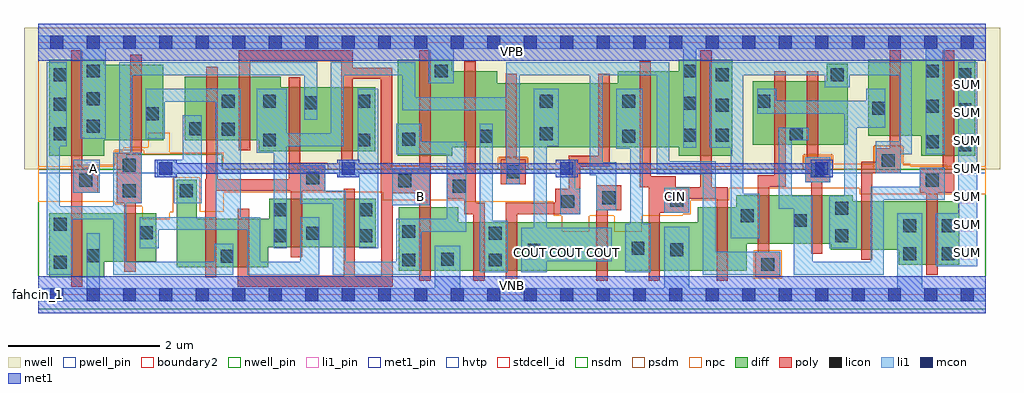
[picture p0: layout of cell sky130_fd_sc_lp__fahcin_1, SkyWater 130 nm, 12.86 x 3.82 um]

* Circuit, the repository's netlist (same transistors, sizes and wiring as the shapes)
* Copyright 2020 The SkyWater PDK Authors
*
* Licensed under the Apache License, Version 2.0 (the "License");
* you may not use this file except in compliance with the License.
* You may obtain a copy of the License at
*
*     https://www.apache.org/licenses/LICENSE-2.0
*
* Unless required by applicable law or agreed to in writing, software
* distributed under the License is distributed on an "AS IS" BASIS,
* WITHOUT WARRANTIES OR CONDITIONS OF ANY KIND, either express or implied.
* See the License for the specific language governing permissions and
* limitations under the License.
*
* SPDX-License-Identifier: Apache-2.0

.SUBCKT sky130_fd_sc_lp__fahcin_1 A B CIN VGND VNB VPB VPWR COUT SUM
*.PININFO A:I B:I CIN:I VGND:I VNB:I VPB:I VPWR:I COUT:O SUM:O
MMIP3 SUM net134 VPWR VPB sky130_fd_pr__pfet_01v8_hvt m=1 w=1.26U l=0.15U mult=1
+ sa=0.265 sb=0.265 sd=0.28 area=0.063 perim=1.14
MI32 Bbb Bb VPWR VPB sky130_fd_pr__pfet_01v8_hvt m=1 w=1.0U l=0.15U mult=1 sa=0.265
+ sb=0.265 sd=0.28 area=0.063 perim=1.14
MI27 Ab Bb mid2 VPB sky130_fd_pr__pfet_01v8_hvt m=1 w=0.84U l=0.15U mult=1 sa=0.265
+ sb=0.265 sd=0.28 area=0.063 perim=1.14
MI26 Abb B mid2 VPB sky130_fd_pr__pfet_01v8_hvt m=1 w=0.84U l=0.15U mult=1 sa=0.265
+ sb=0.265 sd=0.28 area=0.063 perim=1.14
MI22 Abb Bb mid1 VPB sky130_fd_pr__pfet_01v8_hvt m=1 w=0.84U l=0.15U mult=1 sa=0.265
+ sb=0.265 sd=0.28 area=0.063 perim=1.14
MI23 Ab B mid1 VPB sky130_fd_pr__pfet_01v8_hvt m=1 w=0.84U l=0.15U mult=1 sa=0.265
+ sb=0.265 sd=0.28 area=0.063 perim=1.14
MI19 CINb1 CIN VPWR VPB sky130_fd_pr__pfet_01v8_hvt m=1 w=1.0U l=0.15U mult=1 sa=0.265
+ sb=0.265 sd=0.28 area=0.063 perim=1.14
MI13 CINbb2 CINb2 VPWR VPB sky130_fd_pr__pfet_01v8_hvt m=1 w=1.0U l=0.15U mult=1
+ sa=0.265 sb=0.265 sd=0.28 area=0.063 perim=1.14
MI47 Abb Ab VPWR VPB sky130_fd_pr__pfet_01v8_hvt m=1 w=1.0U l=0.15U mult=1 sa=0.265
+ sb=0.265 sd=0.28 area=0.063 perim=1.14
MI12 CINb2 CIN VPWR VPB sky130_fd_pr__pfet_01v8_hvt m=1 w=1.26U l=0.15U mult=1
+ sa=0.265 sb=0.265 sd=0.28 area=0.063 perim=1.14
MI16 Bb B VPWR VPB sky130_fd_pr__pfet_01v8_hvt m=1 w=1.26U l=0.15U mult=1 sa=0.265
+ sb=0.265 sd=0.28 area=0.063 perim=1.14
MI650 CINbb2 mid2 net134 VPB sky130_fd_pr__pfet_01v8_hvt m=1 w=0.84U l=0.15U mult=1
+ sa=0.265 sb=0.265 sd=0.28 area=0.063 perim=1.14
MI45 Ab A VPWR VPB sky130_fd_pr__pfet_01v8_hvt m=1 w=1.26U l=0.15U mult=1 sa=0.265
+ sb=0.265 sd=0.28 area=0.063 perim=1.14
MI1 CINb2 mid1 net134 VPB sky130_fd_pr__pfet_01v8_hvt m=1 w=0.84U l=0.15U mult=1
+ sa=0.265 sb=0.265 sd=0.28 area=0.063 perim=1.14
MI3 Bbb mid2 COUT VPB sky130_fd_pr__pfet_01v8_hvt m=1 w=0.84U l=0.15U mult=1 sa=0.265
+ sb=0.265 sd=0.28 area=0.063 perim=1.14
MI4 CINb1 mid1 COUT VPB sky130_fd_pr__pfet_01v8_hvt m=1 w=0.84U l=0.15U mult=1
+ sa=0.265 sb=0.265 sd=0.28 area=0.063 perim=1.14
MMIN3 SUM net134 VGND VNB sky130_fd_pr__nfet_01v8 m=1 w=0.84U l=0.15U mult=1 sa=0.265
+ sb=0.265 sd=0.28 area=0.063 perim=1.14
MI6 CINb1 mid2 COUT VNB sky130_fd_pr__nfet_01v8 m=1 w=0.64U l=0.15U mult=1 sa=0.265
+ sb=0.265 sd=0.28 area=0.063 perim=1.14
MI25 Ab B mid2 VNB sky130_fd_pr__nfet_01v8 m=1 w=0.64U l=0.15U mult=1 sa=0.265
+ sb=0.265 sd=0.28 area=0.063 perim=1.14
MI24 Abb Bb mid2 VNB sky130_fd_pr__nfet_01v8 m=1 w=0.64U l=0.15U mult=1 sa=0.265
+ sb=0.265 sd=0.28 area=0.063 perim=1.14
MI21 Ab Bb mid1 VNB sky130_fd_pr__nfet_01v8 m=1 w=0.64U l=0.15U mult=1 sa=0.265
+ sb=0.265 sd=0.28 area=0.063 perim=1.14
MI20 Abb B mid1 VNB sky130_fd_pr__nfet_01v8 m=1 w=0.64U l=0.15U mult=1 sa=0.265
+ sb=0.265 sd=0.28 area=0.063 perim=1.14
MI14 CINb1 CIN VGND VNB sky130_fd_pr__nfet_01v8 m=1 w=0.64U l=0.15U mult=1 sa=0.265
+ sb=0.265 sd=0.28 area=0.063 perim=1.14
MI9 CINbb2 CINb2 VGND VNB sky130_fd_pr__nfet_01v8 m=1 w=0.64U l=0.15U mult=1 sa=0.265
+ sb=0.265 sd=0.28 area=0.063 perim=1.14
MI8 CINb2 CIN VGND VNB sky130_fd_pr__nfet_01v8 m=1 w=0.84U l=0.15U mult=1 sa=0.265
+ sb=0.265 sd=0.28 area=0.063 perim=1.14
MI44 Ab A VGND VNB sky130_fd_pr__nfet_01v8 m=1 w=0.84U l=0.15U mult=1 sa=0.265
+ sb=0.265 sd=0.28 area=0.063 perim=1.14
MI46 Abb Ab VGND VNB sky130_fd_pr__nfet_01v8 m=1 w=0.64U l=0.15U mult=1 sa=0.265
+ sb=0.265 sd=0.28 area=0.063 perim=1.14
MI17 Bb B VGND VNB sky130_fd_pr__nfet_01v8 m=1 w=0.84U l=0.15U mult=1 sa=0.265
+ sb=0.265 sd=0.28 area=0.063 perim=1.14
MI649 CINbb2 mid1 net134 VNB sky130_fd_pr__nfet_01v8 m=1 w=0.64U l=0.15U mult=1
+ sa=0.265 sb=0.265 sd=0.28 area=0.063 perim=1.14
MI2 CINb2 mid2 net134 VNB sky130_fd_pr__nfet_01v8 m=1 w=0.64U l=0.15U mult=1 sa=0.265
+ sb=0.265 sd=0.28 area=0.063 perim=1.14
MI31 Bbb mid1 COUT VNB sky130_fd_pr__nfet_01v8 m=1 w=0.64U l=0.15U mult=1 sa=0.265
+ sb=0.265 sd=0.28 area=0.063 perim=1.14
MI33 Bbb Bb VGND VNB sky130_fd_pr__nfet_01v8 m=1 w=0.64U l=0.15U mult=1 sa=0.265
+ sb=0.265 sd=0.28 area=0.063 perim=1.14
.ENDS sky130_fd_sc_lp__fahcin_1

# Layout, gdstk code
import gdstk
lib = gdstk.Library(unit=1e-6, precision=1e-09)
def R(c, l, rs):  # rectangles x0, y0, x1, y1
    for r in rs: c.add(gdstk.rectangle(r[:2], r[2:], *l))
def A(c, l, x, y, w, h, nx, ny, dx, dy):  # array of equal rectangles
    R(c, l, [(x+i*dx, y+j*dy, x+i*dx+w, y+j*dy+h) for i in range(nx) for j in range(ny)])
def P(c, l, *ps):  # polygons
    for p in ps: c.add(gdstk.Polygon(p, *l))
nwell_pin = (64, 16)
nwell = (64, 20)
diff = (65, 20)
poly = (66, 20)
licon = (66, 44)
li1_pin = (67, 16)
li1 = (67, 20)
mcon = (67, 44)
met1_pin = (68, 16)
met1 = (68, 20)
hvtp = (78, 44)
stdcell_id = (81, 4)
nsdm = (93, 44)
psdm = (94, 20)
npc = (95, 20)
pwell_pin = (122, 16)
boundary2 = (236, 0)

sky130_fd_sc_lp__fahcin_ = lib.new_cell('sky130_fd_sc_lp__fahcin_1')
R(sky130_fd_sc_lp__fahcin_, nwell_pin, [(0,3.085,12.48,3.33)])
P(sky130_fd_sc_lp__fahcin_, nwell, [(12.67,3.52),(-0.19,3.52),(-0.19,1.655),(1.155,1.655),(1.155,1.855),(2.425,1.855),(2.425,1.655),(12.67,1.655)])
P(sky130_fd_sc_lp__fahcin_, diff, [(1.55,1.075),(0.145,1.075),(0.145,0.235),(0.865,0.235),(0.865,0.435),(1.55,0.435)],
  [(1.645,3.035),(0.865,3.035),(0.865,3.095),(0.145,3.095),(0.145,1.835),(0.865,1.835),(0.865,2.035),(1.645,2.035)],
  [(4.435,2.735),(3.19,2.735),(3.19,2.875),(1.925,2.875),(1.925,2.035),(2.9,2.035),(2.9,1.895),(4.435,1.895)],
  [(4.445,1.265),(3.04,1.265),(3.04,1.005),(2.085,1.005),(2.085,1.515),(1.82,1.515),(1.82,0.365),(3.025,0.365),(3.025,0.625),(4.445,0.625)],
  [(9.145,3.095),(8.435,3.095),(8.435,2.945),(7.635,2.945),(7.635,2.785),(6.045,2.785),(6.045,2.945),(5.455,2.945),(5.455,3.095),(4.735,3.095),(4.735,1.835),(5.455,1.835),(5.455,1.945),(8.435,1.945),(8.435,1.835),(9.145,1.835)],
  [(10.665,3.045),(10.385,3.045),(10.385,2.815),(9.415,2.815),(9.415,1.975),(10.665,1.975)],
  [(12.135,1.235),(10.73,1.235),(10.73,1.315),(9.195,1.315),(9.195,1.155),(8.685,1.155),(8.685,0.955),(5.535,0.955),(5.535,1.155),(4.745,1.155),(4.745,0.315),(9.335,0.315),(9.335,0.675),(10.44,0.675),(10.44,0.595),(11.335,0.595),(11.335,0.395),(12.135,0.395)],
  [(12.345,3.095),(10.935,3.095),(10.935,2.095),(11.63,2.095),(11.63,1.835),(12.345,1.835)])
P(sky130_fd_sc_lp__fahcin_, poly, [(0.79,1.675),(0.58,1.675),(0.58,3.225),(0.43,3.225),(0.43,0.105),(0.58,0.105),(0.58,1.345),(0.79,1.345)],
  [(1.36,3.165),(1.21,3.165),(1.21,1.875),(1.03,1.875),(1.03,1.205),(1.13,1.205),(1.13,0.305),(1.28,0.305),(1.28,1.205),(1.36,1.205)],
  [(3.78,1.705),(3.45,1.705),(3.45,2.865),(3.3,2.865),(3.3,1.525),(2.36,1.525),(2.36,3.005),(2.21,3.005),(2.21,1.525),(2.195,1.525),(2.195,0.235),(2.345,0.235),(2.345,1.375),(3.325,1.375),(3.325,0.495),(3.475,0.495),(3.475,1.375),(3.78,1.375)],
  [(5.17,3.225),(5.02,3.225),(5.02,1.67),(4.66,1.67),(4.66,2.995),(4.14,2.995),(4.14,3.225),(2.64,3.225),(2.64,1.905),(2.79,1.905),(2.79,3.075),(3.99,3.075),(3.99,1.765),(4.14,1.765),(4.14,2.845),(4.51,2.845),(4.51,1.34),(4.52,1.34),(4.52,0.255),(4.17,0.255),(4.17,1.395),(4.02,1.395),(4.02,0.255),(2.775,0.255),(2.775,1.135),(2.625,1.135),(2.625,0.105),(4.67,0.105),(4.67,1.34),(5.02,1.34),(5.02,0.185),(5.17,0.185)],
  [(5.88,1.215),(5.76,1.215),(5.76,3.075),(5.61,3.075),(5.61,1.595),(5.38,1.595),(5.38,1.265),(5.61,1.265),(5.61,1.065),(5.73,1.065),(5.73,0.185),(5.88,0.185)],
  [(6.42,1.785),(6.305,1.785),(6.305,2.915),(6.155,2.915),(6.155,1.785),(6.09,1.785),(6.09,1.455),(6.42,1.455)],
  [(7.525,2.915),(7.375,2.915),(7.375,1.835),(6.99,1.835),(6.99,1.395),(6.81,1.395),(6.81,1.215),(6.16,1.215),(6.16,0.185),(6.31,0.185),(6.31,1.065),(7.14,1.065),(7.14,1.685),(7.525,1.685)],
  [(7.68,1.445),(7.35,1.445),(7.35,0.185),(7.5,0.185),(7.5,1.115),(7.68,1.115)],
  [(9.085,1.415),(8.87,1.415),(8.87,3.225),(8.72,3.225),(8.72,1.415),(8.395,1.415),(8.395,1.565),(8.07,1.565),(8.07,3.075),(7.92,3.075),(7.92,1.415),(8.04,1.415),(8.04,0.185),(8.19,0.185),(8.19,1.08),(8.575,1.08),(8.575,1.265),(8.935,1.265),(8.935,0.185),(9.085,0.185)],
  [(9.845,2.945),(9.695,2.945),(9.695,1.575),(9.48,1.575),(9.48,0.565),(9.445,0.565),(9.445,0.235),(9.775,0.235),(9.775,0.565),(9.63,0.565),(9.63,1.425),(9.845,1.425)],
  [(10.435,1.815),(10.275,1.815),(10.275,2.945),(10.125,2.945),(10.125,1.815),(10.105,1.815),(10.105,1.485),(10.18,1.485),(10.18,0.545),(10.33,0.545),(10.33,1.485),(10.435,1.485)],
  [(11.365,3.225),(11.215,3.225),(11.215,1.935),(11.035,1.935),(11.035,1.755),(10.84,1.755),(10.84,0.465),(10.99,0.465),(10.99,1.605),(11.365,1.605)],
  [(12.065,3.225),(11.915,3.225),(11.915,1.675),(11.61,1.675),(11.61,1.345),(11.7,1.345),(11.7,0.265),(11.85,0.265),(11.85,1.345),(12.065,1.345)])
A(sky130_fd_sc_lp__fahcin_, licon, 12.12, 1.895, 0.17, 0.17, 1, 3, 0, 0.46)
A(sky130_fd_sc_lp__fahcin_, licon, 11.69, 1.935, 0.17, 0.17, 1, 3, 0, 0.465)
A(sky130_fd_sc_lp__fahcin_, licon, 0.635, 2.135, 0.17, 0.17, 1, 3, 0, 0.365)
R(sky130_fd_sc_lp__fahcin_, licon, [(9.525,0.315,9.695,0.485), (0.205,0.345,0.375,0.515), (4.795,0.375,4.965,0.545), (5.935,0.375,6.105,0.545), (5.305,0.385,5.475,0.555), (2.4,0.425,2.57,0.595), (0.635,0.43,0.805,0.6), (11.395,0.455,11.565,0.625), (11.905,0.455,12.075,0.625), (6.445,0.505,6.615,0.675), (8.325,0.51,8.495,0.68), (7.815,0.53,7.985,0.7), (3.1,0.695,3.27,0.865), (4.23,0.695,4.4,0.865), (10.5,0.695,10.67,0.865), (3.53,0.725,3.7,0.895), (5.935,0.725,6.105,0.895), (1.335,0.735,1.505,0.905), (4.795,0.75,4.965,0.92), (11.395,0.825,11.565,0.995), (11.905,0.825,12.075,0.995), (0.205,0.845,0.375,1.015), (9.955,0.895,10.125,1.065), (9.255,0.955,9.425,1.125), (3.1,1.035,3.27,1.205), (4.23,1.035,4.4,1.205), (10.5,1.055,10.67,1.225), (6.89,1.145,7.06,1.315), (8.325,1.16,8.495,1.33), (7.43,1.195,7.6,1.365), (1.11,1.285,1.28,1.455), (1.865,1.285,2.035,1.455), (5.46,1.345,5.63,1.515), (4.74,1.42,4.91,1.59), (0.54,1.425,0.71,1.595), (11.69,1.425,11.86,1.595), (3.53,1.455,3.7,1.625), (6.17,1.535,6.34,1.705), (10.185,1.565,10.355,1.735), (1.11,1.625,1.28,1.795), (11.115,1.685,11.285,1.855), (2.96,1.955,3.13,2.125), (4.205,1.955,4.375,2.125), (4.795,1.965,4.965,2.135), (5.815,2.005,5.985,2.175), (7.695,2.005,7.865,2.175), (8.495,2.02,8.665,2.19), (8.925,2.02,9.095,2.19), (9.9,2.035,10.07,2.205), (0.205,2.04,0.375,2.21), (6.605,2.04,6.775,2.21), (2.415,2.095,2.585,2.265), (1.985,2.105,2.155,2.275), (1.415,2.3,1.585,2.47), (10.99,2.375,11.16,2.545), (8.925,2.415,9.095,2.585), (0.205,2.425,0.375,2.595), (8.495,2.44,8.665,2.61), (3.505,2.445,3.675,2.615), (2.415,2.465,2.585,2.635), (2.96,2.465,3.13,2.635), (4.205,2.465,4.375,2.635), (6.605,2.465,6.775,2.635), (7.695,2.465,7.865,2.635), (9.47,2.465,9.64,2.635), (0.205,2.815,0.375,2.985), (8.925,2.815,9.095,2.985), (10.44,2.815,10.61,2.985), (5.225,2.865,5.395,3.035), (8.495,2.865,8.665,3.035)])
A(sky130_fd_sc_lp__fahcin_, li1_pin, 6.395, 0.47, 0.17, 0.17, 3, 1, 0.48, 0)
A(sky130_fd_sc_lp__fahcin_, li1_pin, 12.155, 0.47, 0.17, 0.17, 1, 7, 0, 0.37)
R(sky130_fd_sc_lp__fahcin_, li1_pin, [(4.955,1.21,5.125,1.38), (8.315,1.21,8.485,1.38), (0.635,1.58,0.805,1.75)])
R(sky130_fd_sc_lp__fahcin_, li1, [(8.245,1.08,8.575,1.41), (4.66,1.18,5.155,1.67), (0.46,1.345,0.805,1.78), (10.105,1.485,10.435,1.815)])
P(sky130_fd_sc_lp__fahcin_, li1, [(11.69,1.855),(11.69,3.245),(8.665,3.245),(8.665,1.94),(8.495,1.94),(8.495,3.245),(5.475,3.245),(5.475,2.785),(5.145,2.785),(5.145,3.245),(0.885,3.245),(0.885,2.055),(0.555,2.055),(0.555,3.245),(0,3.245),(0,3.415),(12.48,3.415),(12.48,3.245),(11.94,3.245),(11.94,1.855)],
  [(5.225,0.085),(5.225,0.65),(5.555,0.65),(5.555,0.085),(8.245,0.085),(8.245,0.9),(8.575,0.9),(8.575,0.085),(11.315,0.085),(11.315,1.075),(11.645,1.075),(11.645,0.085),(12.48,0.085),(12.48,-0.085),(0,-0.085),(0,0.085),(0.635,0.085),(0.635,0.815),(0.805,0.815),(0.805,0.085)],
  [(12.12,1.075),(12.12,3.065),(12.37,3.065),(12.37,0.375),(11.825,0.375),(11.825,1.075)],
  [(6.525,0.885),(6.525,2.715),(6.855,2.715),(6.855,1.96),(6.695,1.96),(6.695,0.885),(7.555,0.885),(7.555,0.44),(6.695,0.44),(6.695,0.295),(6.365,0.295),(6.365,0.885)],
  [(2.88,1.875),(2.88,2.715),(3.27,2.715),(3.27,2.13),(3.855,2.13),(3.855,3.065),(4.965,3.065),(4.965,2.605),(6.165,2.605),(6.165,3.065),(8.315,3.065),(8.315,1.76),(8.925,1.76),(8.925,0.565),(9.775,0.565),(9.775,0.265),(8.755,0.265),(8.755,1.59),(8.145,1.59),(8.145,2.895),(7.435,2.895),(7.435,1.745),(7.615,1.745),(7.615,1.115),(7.35,1.115),(7.35,1.575),(7.265,1.575),(7.265,2.895),(6.345,2.895),(6.345,1.455),(6.165,1.455),(6.165,2.435),(4.795,2.435),(4.795,2.895),(4.025,2.895),(4.025,1.96),(3.27,1.96),(3.27,0.615),(3.1,0.615),(3.1,1.875)],
  [(9.29,1.335),(9.505,1.335),(9.505,0.745),(9.12,0.745),(9.12,1.94),(8.845,1.94),(8.845,3.065),(11.51,3.065),(11.51,1.855),(11.365,1.855),(11.365,1.605),(11.035,1.605),(11.035,2.025),(11.34,2.025),(11.34,2.895),(10.69,2.895),(10.69,2.735),(10.36,2.735),(10.36,2.895),(9.29,2.895)],
  [(1.155,0.435),(2.32,0.435),(2.32,0.675),(2.57,0.675),(2.57,0.265),(0.985,0.265),(0.985,0.995),(0.455,0.995),(0.455,0.265),(0.11,0.265),(0.11,3.065),(0.375,3.065),(0.375,1.96),(0.28,1.96),(0.28,1.165),(0.985,1.165),(0.985,1.875),(1.065,1.875),(1.065,3.065),(3.675,3.065),(3.675,2.31),(3.505,2.31),(3.505,2.895),(1.235,2.895),(1.235,1.875),(1.36,1.875),(1.36,1.205),(1.155,1.205)],
  [(3.78,1.37),(4.05,1.37),(4.05,0.435),(4.715,0.435),(4.715,1),(5.38,1),(5.38,1.85),(4.715,1.85),(4.715,2.255),(5.045,2.255),(5.045,2.02),(5.635,2.02),(5.635,0.83),(5.045,0.83),(5.045,0.265),(3.88,0.265),(3.88,1.2),(3.45,1.2),(3.45,1.705),(3.78,1.705)],
  [(1.565,1.55),(1.565,1.78),(1.905,1.78),(1.905,2.365),(2.155,2.365),(2.155,1.205),(1.785,1.205),(1.785,1.55)],
  [(3.965,1.55),(3.965,1.78),(4.205,1.78),(4.205,2.715),(4.48,2.715),(4.48,0.615),(4.23,0.615),(4.23,1.55)],
  [(2.92,1.025),(2.92,0.435),(3.45,0.435),(3.45,1.02),(3.7,1.02),(3.7,0.265),(2.75,0.265),(2.75,0.855),(1.585,0.855),(1.585,0.615),(1.335,0.615),(1.335,1.025),(2.335,1.025),(2.335,2.545),(1.665,2.545),(1.665,2.055),(1.415,2.055),(1.415,2.715),(2.665,2.715),(2.665,1.025)],
  [(5.815,0.295),(5.815,2.255),(5.985,2.255),(5.985,0.975),(6.185,0.975),(6.185,0.295)],
  [(7.615,1.925),(7.615,2.715),(7.965,2.715),(7.965,0.935),(8.065,0.935),(8.065,0.295),(7.735,0.295),(7.735,0.935),(7.795,0.935),(7.795,1.925)],
  [(9.72,2.555),(10.91,2.555),(10.91,2.715),(11.16,2.715),(11.16,2.205),(10.785,2.205),(10.785,0.615),(10.42,0.615),(10.42,1.305),(10.615,1.305),(10.615,2.385),(9.47,2.385),(9.47,2.715),(9.72,2.715)],
  [(9.755,2.205),(10.15,2.205),(10.15,2.035),(9.925,2.035),(9.925,1.305),(10.205,1.305),(10.205,0.435),(10.965,0.435),(10.965,1.425),(11.61,1.425),(11.61,1.675),(11.94,1.675),(11.94,1.255),(11.135,1.255),(11.135,0.265),(9.955,0.265),(9.955,1.135),(9.755,1.135)],
  [(6.875,1.78),(7.075,1.78),(7.075,1.395),(7.14,1.395),(7.14,1.065),(6.875,1.065)])
A(sky130_fd_sc_lp__fahcin_, mcon, 0.155, -0.085, 0.17, 0.17, 26, 2, 0.48, 3.33)
R(sky130_fd_sc_lp__fahcin_, mcon, [(1.595,1.58,1.765,1.75), (3.995,1.58,4.165,1.75), (6.875,1.58,7.045,1.75), (10.235,1.58,10.405,1.75)])
R(sky130_fd_sc_lp__fahcin_, met1_pin, [(0,0,12.48,0.245), (0,3.085,12.48,3.33)])
R(sky130_fd_sc_lp__fahcin_, met1, [(0,-0.245,12.48,0.245), (0,3.085,12.48,3.575)])
P(sky130_fd_sc_lp__fahcin_, met1, [(3.935,1.55),(3.935,1.595),(1.825,1.595),(1.825,1.55),(1.535,1.55),(1.535,1.78),(1.825,1.78),(1.825,1.735),(3.935,1.735),(3.935,1.78),(4.225,1.78),(4.225,1.735),(6.815,1.735),(6.815,1.78),(7.105,1.78),(7.105,1.735),(10.175,1.735),(10.175,1.78),(10.465,1.78),(10.465,1.55),(10.175,1.55),(10.175,1.595),(7.105,1.595),(7.105,1.55),(6.815,1.55),(6.815,1.595),(4.225,1.595),(4.225,1.55)])
R(sky130_fd_sc_lp__fahcin_, hvtp, [(0,1.6,12.48,3.33)])
R(sky130_fd_sc_lp__fahcin_, stdcell_id, [(0,0,12.48,3.33)])
P(sky130_fd_sc_lp__fahcin_, nsdm, [(12.48,1.655),(2.425,1.655),(2.425,1.855),(1.155,1.855),(1.155,1.655),(0,1.655),(0,-0.19),(12.48,-0.19)])
P(sky130_fd_sc_lp__fahcin_, psdm, [(12.48,3.52),(0,3.52),(0,1.655),(0.43,1.655),(0.43,1.705),(1,1.705),(1,1.905),(1.39,1.905),(1.39,1.855),(2.425,1.855),(2.425,1.655),(3.42,1.655),(3.42,1.735),(3.81,1.735),(3.81,1.655),(4.63,1.655),(4.63,1.7),(5.02,1.7),(5.02,1.655),(6.06,1.655),(6.06,1.815),(6.45,1.815),(6.45,1.655),(10.075,1.655),(10.075,1.845),(10.465,1.845),(10.465,1.655),(11.005,1.655),(11.005,1.965),(11.395,1.965),(11.395,1.705),(11.97,1.705),(11.97,1.655),(12.48,1.655)])
R(sky130_fd_sc_lp__fahcin_, npc, [(9.425,0.215,9.795,0.585)])
P(sky130_fd_sc_lp__fahcin_, npc, [(12.48,1.695),(11.49,1.695),(11.49,1.73),(11.385,1.73),(11.385,1.955),(11.015,1.955),(11.015,1.73),(10.455,1.73),(10.455,1.835),(10.085,1.835),(10.085,1.73),(9.285,1.73),(9.285,1.695),(8.295,1.695),(8.295,1.73),(6.44,1.73),(6.44,1.805),(6.07,1.805),(6.07,1.73),(5.595,1.73),(5.595,1.695),(4.595,1.695),(4.595,1.73),(2.44,1.73),(2.44,1.87),(1.73,1.87),(1.73,2.135),(1.45,2.135),(1.45,1.945),(1.115,1.945),(1.115,1.895),(1.01,1.895),(1.01,1.73),(1.005,1.73),(1.005,1.695),(0,1.695),(0,1.23),(1.01,1.23),(1.01,1.185),(1.115,1.185),(1.115,1.165),(1.37,1.165),(1.37,0.995),(1.73,0.995),(1.73,1.09),(1.775,1.09),(1.775,1.545),(2.125,1.545),(2.125,1.095),(2.44,1.095),(2.44,1.355),(4.535,1.355),(4.535,1.245),(5.625,1.245),(5.625,1.23),(6.79,1.23),(6.79,1.045),(6.895,1.045),(6.895,0.83),(7.26,0.83),(7.26,1.045),(7.59,1.045),(7.59,0.83),(7.95,0.83),(7.95,1.045),(8.49,1.045),(8.49,1.06),(8.595,1.06),(8.595,1.245),(9.105,1.245),(9.105,1.405),(10.82,1.405),(10.82,1.325),(12.48,1.325)])
R(sky130_fd_sc_lp__fahcin_, pwell_pin, [(0,0,12.48,0.245)])
R(sky130_fd_sc_lp__fahcin_, boundary2, [(0,0,12.48,3.33)])
sky130_fd_sc_lp__fahcin_.add(gdstk.Label('VNB', (6.24,0.123), layer=64, texttype=59))
sky130_fd_sc_lp__fahcin_.add(gdstk.Label('VPB', (6.24,3.208), layer=64, texttype=5))
sky130_fd_sc_lp__fahcin_.add(gdstk.Label('fahcin_1', (0,0), layer=83, texttype=44))
sky130_fd_sc_lp__fahcin_.add(gdstk.Label('VPWR', (6.24,3.208), layer=68, texttype=5))
sky130_fd_sc_lp__fahcin_.add(gdstk.Label('VGND', (6.24,0.123), layer=68, texttype=5))
sky130_fd_sc_lp__fahcin_.add(gdstk.Label('SUM', (12.24,0.555), layer=67, texttype=5))
sky130_fd_sc_lp__fahcin_.add(gdstk.Label('SUM', (12.24,0.925), layer=67, texttype=5))
sky130_fd_sc_lp__fahcin_.add(gdstk.Label('SUM', (12.24,1.295), layer=67, texttype=5))
sky130_fd_sc_lp__fahcin_.add(gdstk.Label('SUM', (12.24,1.665), layer=67, texttype=5))
sky130_fd_sc_lp__fahcin_.add(gdstk.Label('SUM', (12.24,2.035), layer=67, texttype=5))
sky130_fd_sc_lp__fahcin_.add(gdstk.Label('SUM', (12.24,2.405), layer=67, texttype=5))
sky130_fd_sc_lp__fahcin_.add(gdstk.Label('SUM', (12.24,2.775), layer=67, texttype=5))
sky130_fd_sc_lp__fahcin_.add(gdstk.Label('CIN', (8.4,1.295), layer=67, texttype=5))
sky130_fd_sc_lp__fahcin_.add(gdstk.Label('A', (0.72,1.665), layer=67, texttype=5))
sky130_fd_sc_lp__fahcin_.add(gdstk.Label('B', (5.04,1.295), layer=67, texttype=5))
sky130_fd_sc_lp__fahcin_.add(gdstk.Label('COUT', (6.48,0.555), layer=67, texttype=5))
sky130_fd_sc_lp__fahcin_.add(gdstk.Label('COUT', (6.96,0.555), layer=67, texttype=5))
sky130_fd_sc_lp__fahcin_.add(gdstk.Label('COUT', (7.44,0.555), layer=67, texttype=5))

lib.write_gds('sky130_fd_sc_lp__fahcin_1.gds')
